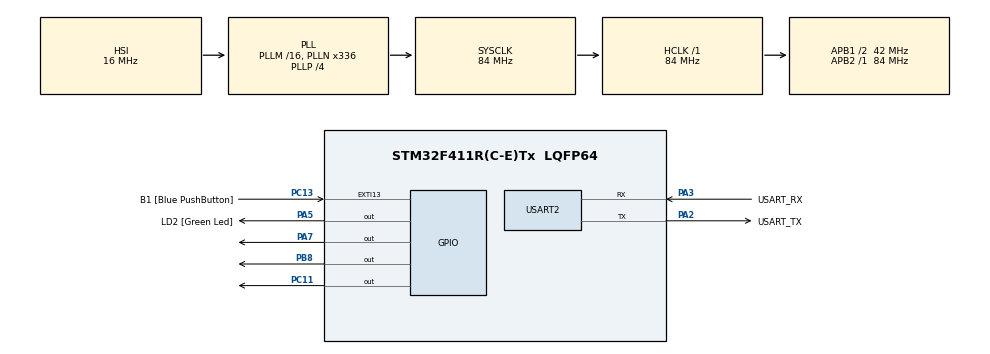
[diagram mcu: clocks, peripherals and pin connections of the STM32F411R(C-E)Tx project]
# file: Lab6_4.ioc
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FREERTOS.Queues01=UART_Queue,16,32,1,Dynamic,NULL,NULL
FREERTOS.Tasks01=defaultTask,24,128,StartDefaultTask,Default,NULL,Dynamic,NULL,NULL;Led1,8,128,StartTask02,Default,NULL,Dynamic,NULL,NULL;Led2,8,128,StartTask03,Default,NULL,Dynamic,NULL,NULL;Led3,8,128,StartTask04,Default,NULL,Dynamic,NULL,NULL;Led4,8,128,StartTask05,Default,NULL,Dynamic,NULL,NULL;Uart1,8,128,StartTask06,Default,NULL,Dynamic,NULL,NULL;Uart2,8,128,StartTask07,Default,NULL,Dynamic,NULL,NULL;Transmitter,8,128,StartTask08,Default,NULL,Dynamic,NULL,NULL
Mcu.Family=STM32F4
Mcu.Name=STM32F411R(C-E)Tx
Mcu.Package=LQFP64
NVIC.PriorityGroup=NVIC_PRIORITYGROUP_4
PA13.GPIO_Label=TMS
PA13.Mode=Serial_Wire
PA13.Signal=SYS_JTMS-SWDIO
PA14.GPIO_Label=TCK
PA14.Mode=Serial_Wire
PA14.Signal=SYS_JTCK-SWCLK
PA2.GPIO_Label=USART_TX
PA2.Mode=Asynchronous
PA2.Signal=USART2_TX
PA3.GPIO_Label=USART_RX
PA3.Mode=Asynchronous
PA3.Signal=USART2_RX
PA5.GPIO_Label=LD2 [Green Led]
PA5.Signal=GPIO_Output
PA7.Signal=GPIO_Output
PB3.GPIO_Label=SWO
PB3.Signal=SYS_JTDO-SWO
PB8.Signal=GPIO_Output
PC11.Signal=GPIO_Output
PC13-ANTI_TAMP.GPIO_Label=B1 [Blue PushButton]
PC13-ANTI_TAMP.GPIO_ModeDefaultEXTI=GPIO_MODE_IT_FALLING
PC13-ANTI_TAMP.Signal=GPXTI13
PC14-OSC32_IN.Mode=LSE-External-Oscillator
PC14-OSC32_IN.Signal=RCC_OSC32_IN
PC15-OSC32_OUT.Mode=LSE-External-Oscillator
PC15-OSC32_OUT.Signal=RCC_OSC32_OUT
PH0\ -\ OSC_IN.Mode=HSE-External-Clock-Source
PH0\ -\ OSC_IN.Signal=RCC_OSC_IN
PH1\ -\ OSC_OUT.Mode=HSE-External-Clock-Source
PH1\ -\ OSC_OUT.Signal=RCC_OSC_OUT
ProjectManager.HeapSize=0x200
ProjectManager.StackSize=0x400
ProjectManager.TargetToolchain=STM32CubeIDE
RCC.48MHZClocksFreq_Value=84000000
RCC.AHBFreq_Value=84000000
RCC.APB1CLKDivider=RCC_HCLK_DIV2
RCC.APB1Freq_Value=42000000
RCC.APB1TimFreq_Value=84000000
RCC.APB2Freq_Value=84000000
RCC.APB2TimFreq_Value=84000000
RCC.CortexFreq_Value=84000000
RCC.FLatency-AdvancedSettings=FLASH_LATENCY_2
RCC.HCLKFreq_Value=84000000
RCC.HSE_VALUE=8000000
RCC.HSI_VALUE=16000000
RCC.PLLN=336
RCC.PLLP=RCC_PLLP_DIV4
RCC.SYSCLKFreq_VALUE=84000000
RCC.SYSCLKSource=RCC_SYSCLKSOURCE_PLLCLK
RCC.VCOOutputFreq_Value=336000000
USART2.VirtualMode=VM_ASYNC
VP_FREERTOS_VS_CMSIS_V2.Mode=CMSIS_V2
board=NUCLEO-F411RE

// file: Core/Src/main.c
/* USER CODE BEGIN Header */
/**
  ******************************************************************************
  * @file           : main.c
  * @brief          : Main program body
  ******************************************************************************
  * @attention
  *
  * Copyright (c) 2023 STMicroelectronics.
  * All rights reserved.
  *
  * This software is licensed under terms that can be found in the LICENSE file
  * in the root directory of this software component.
  * If no LICENSE file comes with this software, it is provided AS-IS.
  *
  ******************************************************************************
  */
/* USER CODE END Header */
#include "main.h"
#include "cmsis_os.h"

UART_HandleTypeDef huart2;

/* Definitions for defaultTask */
osThreadId_t defaultTaskHandle;
const osThreadAttr_t defaultTask_attributes = {
  .name = "defaultTask",
  .stack_size = 128 * 4,
  .priority = (osPriority_t) osPriorityNormal,
};
/* Definitions for Led1 */
osThreadId_t Led1Handle;
const osThreadAttr_t Led1_attributes = {
  .name = "Led1",
  .stack_size = 128 * 4,
  .priority = (osPriority_t) osPriorityLow,
};
/* Definitions for Led2 */
osThreadId_t Led2Handle;
const osThreadAttr_t Led2_attributes = {
  .name = "Led2",
  .stack_size = 128 * 4,
  .priority = (osPriority_t) osPriorityLow,
};
/* Definitions for Led3 */
osThreadId_t Led3Handle;
const osThreadAttr_t Led3_attributes = {
  .name = "Led3",
  .stack_size = 128 * 4,
  .priority = (osPriority_t) osPriorityLow,
};
/* Definitions for Led4 */
osThreadId_t Led4Handle;
const osThreadAttr_t Led4_attributes = {
  .name = "Led4",
  .stack_size = 128 * 4,
  .priority = (osPriority_t) osPriorityLow,
};
/* Definitions for Uart1 */
osThreadId_t Uart1Handle;
const osThreadAttr_t Uart1_attributes = {
  .name = "Uart1",
  .stack_size = 128 * 4,
  .priority = (osPriority_t) osPriorityLow,
};
/* Definitions for Uart2 */
osThreadId_t Uart2Handle;
const osThreadAttr_t Uart2_attributes = {
  .name = "Uart2",
  .stack_size = 128 * 4,
  .priority = (osPriority_t) osPriorityLow,
};
/* Definitions for Transmitter */
osThreadId_t TransmitterHandle;
const osThreadAttr_t Transmitter_attributes = {
  .name = "Transmitter",
  .stack_size = 128 * 4,
  .priority = (osPriority_t) osPriorityLow,
};
/* Definitions for UART_Queue */
osMessageQueueId_t UART_QueueHandle;
const osMessageQueueAttr_t UART_Queue_attributes = {
  .name = "UART_Queue"
};

void SystemClock_Config(void);
static void MX_GPIO_Init(void);
static void MX_USART2_UART_Init(void);
void StartDefaultTask(void *argument);
void StartTask02(void *argument);
void StartTask03(void *argument);
void StartTask04(void *argument);
void StartTask05(void *argument);
void StartTask06(void *argument);
void StartTask07(void *argument);
void StartTask08(void *argument);

int main(void)
{

  /* MCU Configuration--------------------------------------------------------*/

  /* Reset of all peripherals, Initializes the Flash interface and the Systick. */
  HAL_Init();

  /* Configure the system clock */
  SystemClock_Config();

  /* Initialize all configured peripherals */
  MX_GPIO_Init();
  MX_USART2_UART_Init();

  /* Init scheduler */
  osKernelInitialize();

  /* Create the queue(s) */
  /* creation of UART_Queue */
  UART_QueueHandle = osMessageQueueNew (16, 32, &UART_Queue_attributes);

  /* Create the thread(s) */
  /* creation of defaultTask */
  defaultTaskHandle = osThreadNew(StartDefaultTask, NULL, &defaultTask_attributes);

  /* creation of Led1 */
  Led1Handle = osThreadNew(StartTask02, NULL, &Led1_attributes);

  /* creation of Led2 */
  Led2Handle = osThreadNew(StartTask03, NULL, &Led2_attributes);

  /* creation of Led3 */
  Led3Handle = osThreadNew(StartTask04, NULL, &Led3_attributes);

  /* creation of Led4 */
  Led4Handle = osThreadNew(StartTask05, NULL, &Led4_attributes);

  /* creation of Uart1 */
  Uart1Handle = osThreadNew(StartTask06, NULL, &Uart1_attributes);

  /* creation of Uart2 */
  Uart2Handle = osThreadNew(StartTask07, NULL, &Uart2_attributes);

  /* creation of Transmitter */
  TransmitterHandle = osThreadNew(StartTask08, NULL, &Transmitter_attributes);

  /* Start scheduler */
  osKernelStart();
  /* We should never get here as control is now taken by the scheduler */
  /* Infinite loop */
  while (1)
  {

  }
}

void SystemClock_Config(void)
{
  RCC_OscInitTypeDef RCC_OscInitStruct = {0};
  RCC_ClkInitTypeDef RCC_ClkInitStruct = {0};

  /** Configure the main internal regulator output voltage
  */
  __HAL_RCC_PWR_CLK_ENABLE();
  __HAL_PWR_VOLTAGESCALING_CONFIG(PWR_REGULATOR_VOLTAGE_SCALE1);

  /** Initializes the RCC Oscillators according to the specified parameters
  * in the RCC_OscInitTypeDef structure.
  */
  RCC_OscInitStruct.OscillatorType = RCC_OSCILLATORTYPE_HSI;
  RCC_OscInitStruct.HSIState = RCC_HSI_ON;
  RCC_OscInitStruct.HSICalibrationValue = RCC_HSICALIBRATION_DEFAULT;
  RCC_OscInitStruct.PLL.PLLState = RCC_PLL_ON;
  RCC_OscInitStruct.PLL.PLLSource = RCC_PLLSOURCE_HSI;
  RCC_OscInitStruct.PLL.PLLM = 16;
  RCC_OscInitStruct.PLL.PLLN = 336;
  RCC_OscInitStruct.PLL.PLLP = RCC_PLLP_DIV4;
  RCC_OscInitStruct.PLL.PLLQ = 4;
  if (HAL_RCC_OscConfig(&RCC_OscInitStruct) != HAL_OK)
  {
    Error_Handler();
  }

  /** Initializes the CPU, AHB and APB buses clocks
  */
  RCC_ClkInitStruct.ClockType = RCC_CLOCKTYPE_HCLK|RCC_CLOCKTYPE_SYSCLK
                              |RCC_CLOCKTYPE_PCLK1|RCC_CLOCKTYPE_PCLK2;
  RCC_ClkInitStruct.SYSCLKSource = RCC_SYSCLKSOURCE_PLLCLK;
  RCC_ClkInitStruct.AHBCLKDivider = RCC_SYSCLK_DIV1;
  RCC_ClkInitStruct.APB1CLKDivider = RCC_HCLK_DIV2;
  RCC_ClkInitStruct.APB2CLKDivider = RCC_HCLK_DIV1;

  if (HAL_RCC_ClockConfig(&RCC_ClkInitStruct, FLASH_LATENCY_2) != HAL_OK)
  {
    Error_Handler();
  }
}

static void MX_USART2_UART_Init(void)
{

  huart2.Instance = USART2;
  huart2.Init.BaudRate = 115200;
  huart2.Init.WordLength = UART_WORDLENGTH_8B;
  huart2.Init.StopBits = UART_STOPBITS_1;
  huart2.Init.Parity = UART_PARITY_NONE;
  huart2.Init.Mode = UART_MODE_TX_RX;
  huart2.Init.HwFlowCtl = UART_HWCONTROL_NONE;
  huart2.Init.OverSampling = UART_OVERSAMPLING_16;
  if (HAL_UART_Init(&huart2) != HAL_OK)
  {
    Error_Handler();
  }

}

static void MX_GPIO_Init(void)
{
  GPIO_InitTypeDef GPIO_InitStruct = {0};

  /* GPIO Ports Clock Enable */
  __HAL_RCC_GPIOC_CLK_ENABLE();
  __HAL_RCC_GPIOH_CLK_ENABLE();
  __HAL_RCC_GPIOA_CLK_ENABLE();
  __HAL_RCC_GPIOB_CLK_ENABLE();

  /*Configure GPIO pin Output Level */
  HAL_GPIO_WritePin(GPIOA, LD2_Pin|GPIO_PIN_7, GPIO_PIN_RESET);

  /*Configure GPIO pin Output Level */
  HAL_GPIO_WritePin(GPIOC, GPIO_PIN_11, GPIO_PIN_RESET);

  /*Configure GPIO pin Output Level */
  HAL_GPIO_WritePin(GPIOB, GPIO_PIN_8, GPIO_PIN_RESET);

  /*Configure GPIO pin : B1_Pin */
  GPIO_InitStruct.Pin = B1_Pin;
  GPIO_InitStruct.Mode = GPIO_MODE_IT_FALLING;
  GPIO_InitStruct.Pull = GPIO_NOPULL;
  HAL_GPIO_Init(B1_GPIO_Port, &GPIO_InitStruct);

  /*Configure GPIO pins : LD2_Pin PA7 */
  GPIO_InitStruct.Pin = LD2_Pin|GPIO_PIN_7;
  GPIO_InitStruct.Mode = GPIO_MODE_OUTPUT_PP;
  GPIO_InitStruct.Pull = GPIO_NOPULL;
  GPIO_InitStruct.Speed = GPIO_SPEED_FREQ_LOW;
  HAL_GPIO_Init(GPIOA, &GPIO_InitStruct);

  /*Configure GPIO pin : PC11 */
  GPIO_InitStruct.Pin = GPIO_PIN_11;
  GPIO_InitStruct.Mode = GPIO_MODE_OUTPUT_PP;
  GPIO_InitStruct.Pull = GPIO_NOPULL;
  GPIO_InitStruct.Speed = GPIO_SPEED_FREQ_LOW;
  HAL_GPIO_Init(GPIOC, &GPIO_InitStruct);

  /*Configure GPIO pin : PB8 */
  GPIO_InitStruct.Pin = GPIO_PIN_8;
  GPIO_InitStruct.Mode = GPIO_MODE_OUTPUT_PP;
  GPIO_InitStruct.Pull = GPIO_NOPULL;
  GPIO_InitStruct.Speed = GPIO_SPEED_FREQ_LOW;
  HAL_GPIO_Init(GPIOB, &GPIO_InitStruct);

}

void StartDefaultTask(void *argument)
{
  for(;;)
  {
    osDelay(1);
  }
}

void StartTask02(void *argument)
{
  /* USER CODE BEGIN StartTask02 */
  /* Infinite loop */
  for(;;)
  {
	HAL_GPIO_TogglePin(GPIOA, GPIO_PIN_5);
    osDelay(50);
  }
  /* USER CODE END StartTask02 */
}

void StartTask03(void *argument)
{
  /* USER CODE BEGIN StartTask03 */
  /* Infinite loop */
  for(;;)
  {
	HAL_GPIO_TogglePin(GPIOA, GPIO_PIN_7);
    osDelay(18);
  }
  /* USER CODE END StartTask03 */
}

void StartTask04(void *argument)
{
  /* USER CODE BEGIN StartTask04 */
  /* Infinite loop */
  for(;;)
  {
	HAL_GPIO_TogglePin(GPIOB, GPIO_PIN_8);
    osDelay(128);
  }
  /* USER CODE END StartTask04 */
}

void StartTask05(void *argument)
{
  /* USER CODE BEGIN StartTask05 */
  /* Infinite loop */
  for(;;)
  {
	HAL_GPIO_TogglePin(GPIOC, GPIO_PIN_11);
    osDelay(64);
  }
  /* USER CODE END StartTask05 */
}

void StartTask06(void *argument)
{
  /* USER CODE BEGIN StartTask06 */
	int threadID = 0;
	int idx = 0;
	char buffer[32];
	while(1) {
		sprintf(buffer, "TID: %d %d\r\n", threadID, idx);
		idx ++;
		osMessageQueuePut(UART_QueueHandle, buffer, 0, 0);
		//HAL_UART_Transmit(&huart2, buffer, strlen(buffer), 1000);
		osDelay(10);
	}
  /* Infinite loop */
  /* USER CODE END StartTask06 */
}

void StartTask07(void *argument)
{
  /* USER CODE BEGIN StartTask07 */
	int threadID = 1;
	int idx = 0;
	char buffer[32];
	while(1) {
		sprintf(buffer, "TID: %d %d\r\n", threadID, idx);
		idx ++;
		osMessageQueuePut(UART_QueueHandle, buffer, 0, 0);
		//HAL_UART_Transmit(&huart2, buffer, strlen(buffer), 1000);
		osDelay(10);
	}
  /* Infinite loop */
  /* USER CODE END StartTask07 */
}

void StartTask08(void *argument)
{
  /* USER CODE BEGIN StartTask08 */
	osStatus_t status;

	  while (1) {
	     // Insert thread code here...
	    char buffer[32];
	    status = osMessageQueueGet(UART_QueueHandle, buffer, NULL, 0U);   // wait for message
	    if (status == osOK) {
	       // process data
	    	HAL_UART_Transmit(&huart2, buffer, strlen(buffer), 1000);
	    }
	  }
  /* Infinite loop */
  /* USER CODE END StartTask08 */
}

void Error_Handler(void)
{
  __disable_irq();
  while (1)
  {
  }
}
